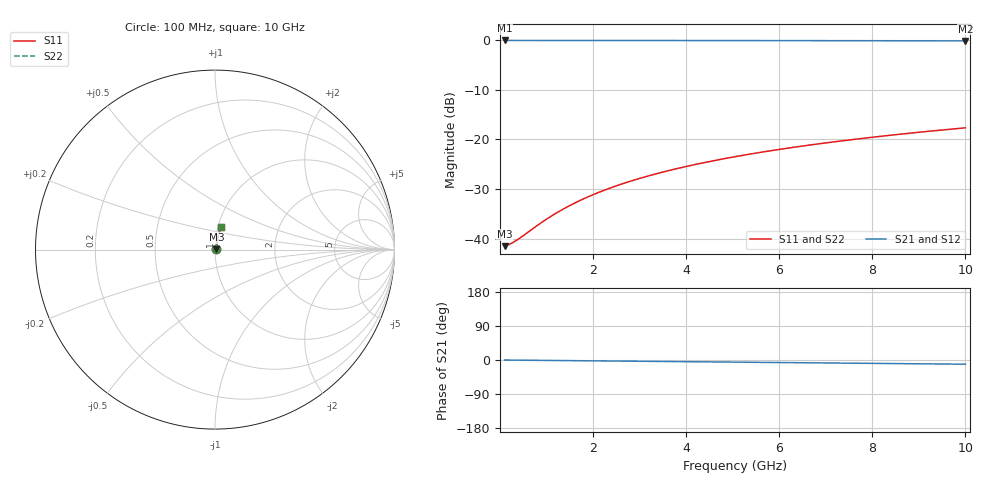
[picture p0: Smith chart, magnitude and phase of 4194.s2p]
# Hz S RI R 50.00
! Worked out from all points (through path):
!   100 points, 100 MHz to 10 GHz, reference 50 ohm
!   highest |S21| = -0.07 dB at 100 MHz (marker M1); lowest = -0.2 dB at 10 GHz (marker M2)
!   group delay of S21, straight-line fit = 3.09 ps
!   lowest |S11| = -41.5 dB at 100 MHz (marker M3), VSWR 1.02, Z = 50.8 + j0.132 ohm
!   |S11| at or under -10 dB: start of sweep to end of sweep
!   |S22| runs from -41.5 to -17.7 dB; largest |S21 - S12| = 0
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1e8  0.00828 0.0013  0.9917 -0.00193  0.9917 -0.00193  0.00828 0.0013
2e8  0.00834 0.0026  0.9917 -0.00385  0.9917 -0.00385  0.00834 0.0026
3e8  0.0084 0.0039  0.9916 -0.00578  0.9916 -0.00578  0.0084 0.0039
4e8  0.00845 0.00519  0.9915 -0.00771  0.9915 -0.00771  0.00845 0.00519
9e8  0.00872 0.0117  0.9913 -0.0173  0.9913 -0.0173  0.00872 0.0117
1.2e9  0.00893 0.0156  0.991 -0.0231  0.991 -0.0231  0.00893 0.0156
1.5e9  0.00917 0.0195  0.9908 -0.0289  0.9908 -0.0289  0.00917 0.0195
1.8e9  0.00946 0.0233  0.9905 -0.0347  0.9905 -0.0347  0.00946 0.0233
2.1e9  0.00978 0.0272  0.9901 -0.0404  0.9901 -0.0404  0.00978 0.0272
2.5e9  0.0103 0.0324  0.9896 -0.0481  0.9896 -0.0481  0.0103 0.0324
2.9e9  0.0109 0.0375  0.989 -0.0558  0.989 -0.0558  0.0109 0.0375
3.4e9  0.0117 0.044  0.9881 -0.0654  0.9881 -0.0654  0.0117 0.044
3.8e9  0.0124 0.0491  0.9872 -0.073  0.9872 -0.073  0.0124 0.0491
4.2e9  0.0133 0.0542  0.9863 -0.0807  0.9863 -0.0807  0.0133 0.0542
4.6e9  0.0142 0.0593  0.9854 -0.0883  0.9854 -0.0883  0.0142 0.0593
5.1e9  0.0154 0.0657  0.984 -0.0978  0.984 -0.0978  0.0154 0.0657
5.9e9  0.0177 0.0758  0.9816 -0.1129  0.9816 -0.1129  0.0177 0.0758
6.7e9  0.0202 0.0858  0.9788 -0.128  0.9788 -0.128  0.0202 0.0858
7.5e9  0.0231 0.0957  0.9757 -0.143  0.9757 -0.143  0.0231 0.0957
8.4e9  0.0267 0.1068  0.9719 -0.1598  0.9719 -0.1598  0.0267 0.1068
9.2e9  0.0302 0.1165  0.9681 -0.1745  0.9681 -0.1745  0.0302 0.1165
1e10  0.034 0.1261  0.964 -0.1892  0.964 -0.1892  0.034 0.1261
